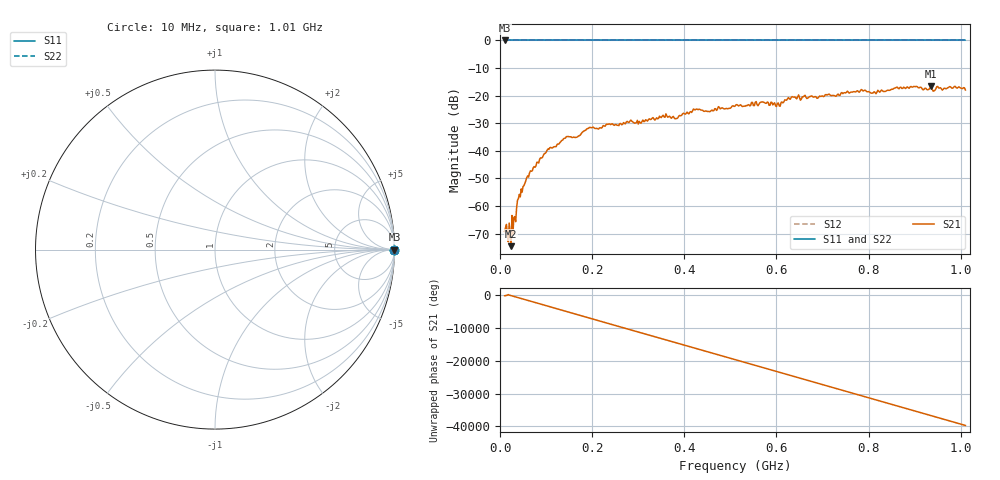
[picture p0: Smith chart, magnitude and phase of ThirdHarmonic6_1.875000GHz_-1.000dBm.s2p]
! 8/16/2025 10:39:42 PM
! C:\ANRITSUVNA\TEMP\TEMP.S2P
! CHANNEL.1
! TR.MEASUREMENT
! RAW.DATA
! RF.CORRECTION.OFF
! AVERAGING.OFF
! IF.BANDWIDTH: 5KHZ
! SWEEPTYPE:  FREQ.SWEEP(Linear)
! Reference Plane Port Info
! PORT:  PORT1  PORT2
! DISTANCE:  0  m  0  m
! TIME:  0  s  0  s
! PHASE.OFFSET:  0  deg.  0  deg.
! LOSS:  0  dB  0  dB
! REF.LOSS:  0  dB  0  dB
! REF.FREQ:  0  Hz  0  Hz
! Power Info
! POWER:  -20  dBm  -20  dBm
! EFF.POWER:  -20  dBm  -20  dBm
! SOURCE.ATTEN:  0  dB  0  dB
! TEST.ATTEN:  0  dB  0  dB
# GHZ S RI R 50.0
! FREQ.GHZ  S11RE  S11IM  S21RE  S21IM  S12RE  S12IM  S22RE  S22IM
!; PortSelection: Port_12
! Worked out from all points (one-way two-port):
!   501 points, 10 MHz to 1.01 GHz, reference 50 ohm
!   highest |S21| = -16.61 dB at 936 MHz (marker M1); lowest = -74.5 dB at 24 MHz (marker M2)
!   lowest |S11| = 0.0 dB at 10 MHz (marker M3)
!   |S11| at or under -10 dB: nowhere
!   |S22| runs from 0.0 to 0.0 dB; largest |S21 - S12| = 1.1
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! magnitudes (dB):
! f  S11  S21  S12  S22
! 10 MHz  0.0  -69.2  0.0  0.0
! 16 MHz  0.0  -70.1  0.0  0.0
! 20 MHz  0.0  -66.2  0.0  0.0
! 24 MHz  0.0  -74.5  0.0  0.0
! 32 MHz  0.0  -63.8  0.0  0.0
! 42 MHz  0.0  -55.8  0.0  0.0
! 70 MHz  0.0  -47.3  0.0  0.0
! 106 MHz  0.0  -39.5  0.0  0.0
! 144 MHz  0.0  -34.9  0.0  0.0
! 178 MHz  0.0  -33.4  0.0  0.0
! 198 MHz  0.0  -31.7  0.0  0.0
! 344 MHz  0.0  -28.2  0.0  0.0
! 382 MHz  0.0  -28.3  0.0  0.0
! 424 MHz  0.0  -25.1  0.0  0.0
! 452 MHz  0.0  -25.7  0.0  0.0
! 510 MHz  0.0  -23.8  0.0  0.0
! 604 MHz  0.0  -22.7  0.0  0.0
! 636 MHz  0.0  -20.5  0.0  0.0
! 678 MHz  0.0  -20.3  0.0  0.0
! 844 MHz  0.0  -18.1  0.0  0.0
! 936 MHz  0.0  -16.6  0.0  0.0
! 1.01 GHz  0.0  -17.9  0.0  0.0
